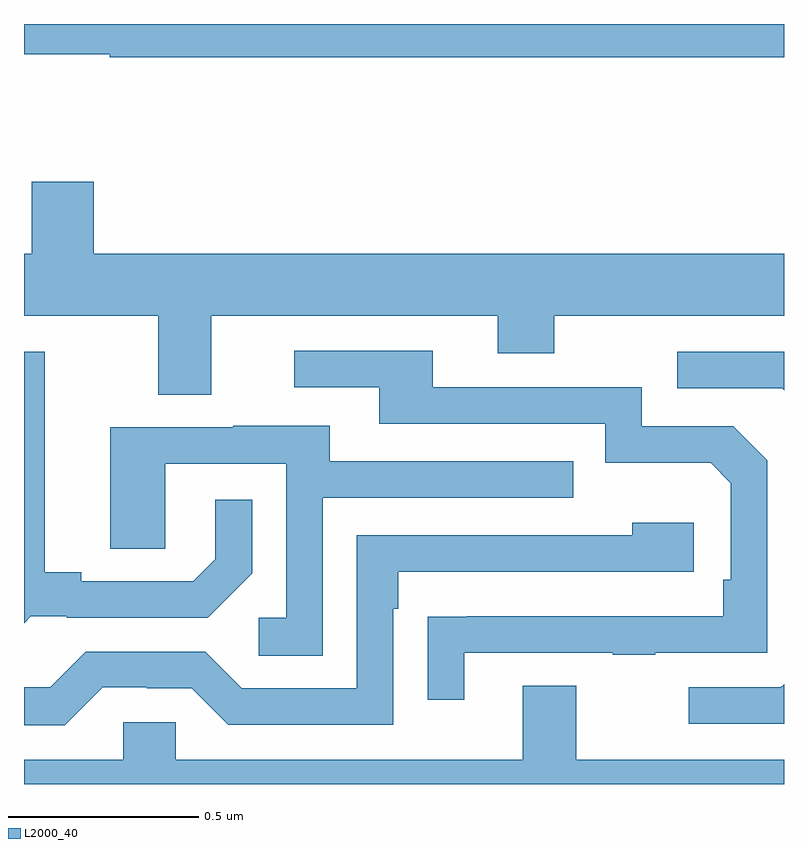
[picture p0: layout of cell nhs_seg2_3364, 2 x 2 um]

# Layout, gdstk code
import gdstk
lib = gdstk.Library(unit=1e-6, precision=1e-09)
def P(c, l, *ps):  # polygons
    for p in ps: c.add(gdstk.Polygon(p, *l))
L2000_40 = (2000, 40)

nhs_seg2_3364 = lib.new_cell('nhs_seg2_3364')
P(nhs_seg2_3364, L2000_40, [(155,585.8),(153,585.8),(153,585.72),(153.226,585.72),(153.226,585.712),(155,585.712)],
  [(153.493,585.032),(154.247,585.032),(154.247,584.933),(154.395,584.933),(154.395,585.032),(155,585.032),(155,585.196),(153.184,585.196),(153.184,585.385),(153.02,585.385),(153.02,585.196),(153,585.196),(153,585.032),(153.353,585.032),(153.353,584.824),(153.493,584.824)],
  [(154.159,584.145),(154.549,584.145),(154.549,584.14),(154.661,584.14),(154.661,584.145),(154.956,584.145),(154.956,584.652),(154.866,584.742),(154.626,584.742),(154.626,584.844),(154.075,584.844),(154.075,584.94),(153.711,584.94),(153.711,584.844),(153.935,584.844),(153.935,584.748),(154.53,584.748),(154.53,584.645),(154.807,584.645),(154.86,584.592),(154.86,584.338),(154.84,584.338),(154.84,584.241),(154.165,584.241),(154.165,584.24),(154.063,584.24),(154.063,584.022),(154.159,584.022)],
  [(155,584.937),(154.719,584.937),(154.719,584.841),(154.995,584.841),(155,584.836)],
  [(153.018,584.241),(153.112,584.241),(153.112,584.238),(153.484,584.238),(153.6,584.354),(153.6,584.548),(153.503,584.548),(153.503,584.391),(153.446,584.334),(153.151,584.334),(153.151,584.357),(153.055,584.357),(153.055,584.937),(153,584.937),(153,584.223)],
  [(153.786,584.553),(154.445,584.553),(154.445,584.649),(153.805,584.649),(153.805,584.743),(153.551,584.743),(153.551,584.739),(153.227,584.739),(153.227,584.419),(153.372,584.419),(153.372,584.643),(153.69,584.643),(153.69,584.238),(153.618,584.238),(153.618,584.137),(153.786,584.137)],
  [(153.207,584.055),(153.323,584.055),(153.323,584.052),(153.441,584.052),(153.537,583.956),(153.972,583.956),(153.972,584.261),(153.985,584.261),(153.985,584.358),(154.762,584.358),(154.762,584.488),(154.601,584.488),(154.601,584.454),(153.876,584.454),(153.876,584.052),(153.573,584.052),(153.477,584.148),(153.162,584.148),(153.069,584.055),(153,584.055),(153,583.955),(153.107,583.955)],
  [(155,584.063),(154.992,584.055),(154.749,584.055),(154.749,583.959),(155,583.959)],
  [(155,583.864),(154.453,583.864),(154.453,584.059),(154.313,584.059),(154.313,583.864),(153.399,583.864),(153.399,583.962),(153.261,583.962),(153.261,583.864),(153,583.864),(153,583.8),(155,583.8)])

lib.write_gds('nhs_seg2_3364.gds')
